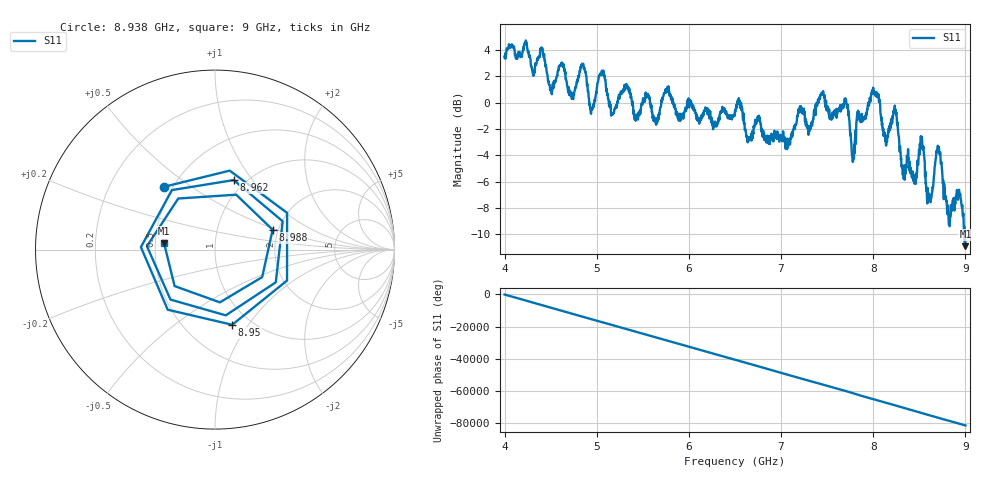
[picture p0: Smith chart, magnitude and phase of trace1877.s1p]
! Created with skrf 1.8.0 (http://scikit-rf.org).
# Hz S RI R 50.0
!freq ReS11 ImS11
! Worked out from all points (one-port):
!   1601 points, 4 GHz to 9 GHz, reference 50 ohm
!   lowest |S11| = -10.9 dB at 9 GHz (marker M1), VSWR 1.80, Z = 27.9 + j2.09 ohm
!   |S11| at or under -10 dB: 8.989945 GHz to end of sweep
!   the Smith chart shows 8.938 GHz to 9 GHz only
!   S11 on the Smith chart (normalised r, x): 8.938 GHz: 0.45, +0.40; 8.95 GHz: 0.82, -0.84; 8.962 GHz: 0.88, +0.81; 8.988 GHz: 1.87, +0.47; 9 GHz: 0.56, +0.04
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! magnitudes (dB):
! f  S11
! 4 GHz  3.5
! 4.406 GHz  4.1
! 4.506 GHz  0.8
! 4.625 GHz  2.8
! 4.731 GHz  0.4
! 4.856 GHz  2.8
! 4.944 GHz  -0.5
! 5.047 GHz  2.2
! 5.166 GHz  -0.9
! 5.25 GHz  0.6
! 5.875 GHz  -0.8
! 6.5 GHz  -0.6
! 7.125 GHz  -2.5
! 7.447 GHz  0.7
! 7.75 GHz  -2.4
! 7.788 GHz  -4.1
! 8.009 GHz  0.9
! 8.375 GHz  -4.4
! 8.45 GHz  -5.9
! 8.531 GHz  -3.0
! 8.609 GHz  -7.0
! 8.706 GHz  -3.7
! 8.816 GHz  -8.6
! 8.938 GHz  -6.9
! 8.95 GHz  -7.3
! 8.962 GHz  -7.9
! 8.988 GHz  -9.4
! 9 GHz  -10.9
